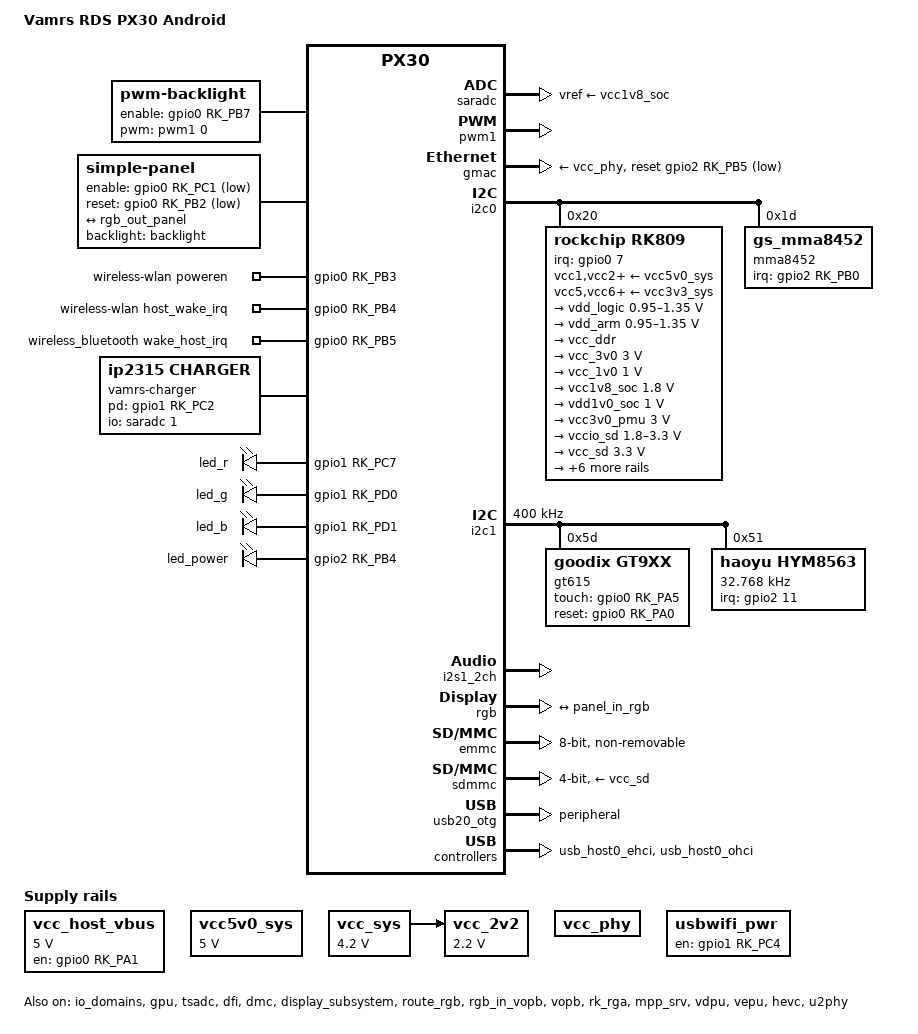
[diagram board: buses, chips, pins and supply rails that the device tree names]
// SPDX-License-Identifier: (GPL-2.0+ OR MIT)
/*
 * Copyright (c) 2018 Fuzhou Rockchip Electronics Co., Ltd
 */

/dts-v1/;
#include <dt-bindings/gpio/gpio.h>
#include <dt-bindings/pinctrl/rockchip.h>
#include <dt-bindings/input/input.h>
#include <dt-bindings/clock/rk618-cru.h>
#include <dt-bindings/display/drm_mipi_dsi.h>
#include <dt-bindings/sensor-dev.h>
#include "px30.dtsi"
#include "px30-android.dtsi"

/ {
	model = "Vamrs RDS PX30 Android";
	compatible = "vamrs,rds-px30", "rockchip,px30";

    chosen: chosen {
        bootargs = "earlycon=uart8250,mmio32,0xff158000 swiotlb=1 console=ttyFIQ0 androidboot.baseband=N/A androidboot.veritymode=enforcing androidboot.hardware=rk30board androidboot.console=ttyFIQ0 init=/init kpti=0";
    };

    fiq-debugger{
        status = "okay";
        rockchip,serial-id = <1>;
        pinctrl-names = "default";
        pinctrl-0 = <&uart1_xfer>;
    };

	backlight: backlight {
		status = "okay";
		compatible = "pwm-backlight";
		enable-gpios = <&gpio0 RK_PB7 GPIO_ACTIVE_HIGH>;
		pwms = <&pwm1 0 25000 1>;
 		brightness-levels = <
			  0   1   2   3   4   5   6   7
			  8   9  10  11  12  13  14  15
			 16  17  18  19  20  21  22  23
			 24  25  26  27  28  29  30  31
			 32  33  34  35  36  37  38  39
			 40  41  42  43  44  45  46  47
			 48  49  50  51  52  53  54  55
			 56  57  58  59  60  61  62  63
			 64  65  66  67  68  69  70  71
			 72  73  74  75  76  77  78  79
			 80  81  82  83  84  85  86  87
			 88  89  90  91  92  93  94  95
			 96  97  98  99 100 101 102 103
			104 105 106 107 108 109 110 111
			112 113 114 115 116 117 118 119
			120 121 122 123 124 125 126 127
			128 129 130 131 132 133 134 135
			136 137 138 139 140 141 142 143
			144 145 146 147 148 149 150 151
			152 153 154 155 156 157 158 159
			160 161 162 163 164 165 166 167
			168 169 170 171 172 173 174 175
			176 177 178 179 180 181 182 183
			184 185 186 187 188 189 190 191
			192 193 194 195 196 197 198 199
			200 201 202 203 204 205 206 207
			208 209 210 211 212 213 214 215
			216 217 218 219 220 221 222 223
			224 225 226 227 228 229 230 231
			232 233 234 235 236 237 238 239
			240 241 242 243 244 245 246 247
			248 249 250 251 252 253 254 255>;
		default-brightness-level = <200>;
	};

	panel {
		status = "okay";
		compatible = "simple-panel";
		bpc = <8>;
		bus-format = <MEDIA_BUS_FMT_RGB888_1X24>;
		backlight = <&backlight>;
		enable-gpios = <&gpio0 RK_PC1 GPIO_ACTIVE_LOW>;
		enable-delay-ms = <10>;
		reset-gpios = <&gpio0 RK_PB2 GPIO_ACTIVE_LOW>;
		reset-delay-ms = <12>;
		prepare-delay-ms = <0>;
		unprepare-delay-ms = <0>;
		disable-delay-ms = <0>;
		init-delay-ms = <0>;
		width-mm = <108>;
		height-mm = <64>;

		display-timings {
			native-mode = <&hq050wvg001_timing>;

			hq050wvg001_timing: timing0 {
				clock-frequency = <24800000>;
				hactive = <800>;
				vactive = <480>;
				hback-porch = <8>;
				hfront-porch = <8>;
				vback-porch = <8>;
				vfront-porch = <8>;
				hsync-len = <4>;
				vsync-len = <4>;
				hsync-active = <0>;
				vsync-active = <0>;
				de-active = <0>;
				pixelclk-active = <0>;
			};
		};

		port {
			panel_in_rgb: endpoint {
				remote-endpoint = <&rgb_out_panel>;
			};
		};
	};

	vcc_host_vbus: host-vbus-regulator {
		compatible = "regulator-fixed";
		gpio = <&gpio0 RK_PA1 GPIO_ACTIVE_HIGH>;
		pinctrl-names = "default";
		pinctrl-0 = <&host_vbus_drv>;
		regulator-name = "vcc_host_vbus";
		regulator-min-microvolt = <5000000>;
		regulator-max-microvolt = <5000000>;
		regulator-always-on;
		regulator-boot-on;
		enable-active-high;
	};

	vcc5v0_sys: vccsys {
		compatible = "regulator-fixed";
		regulator-name = "vcc5v0_sys";
		regulator-always-on;
		regulator-boot-on;
		regulator-min-microvolt = <5000000>;
		regulator-max-microvolt = <5000000>;
	};

	vcc_sys: vccsys {
		compatible = "regulator-fixed";
		regulator-name = "vcc_sys";
		regulator-always-on;
		regulator-boot-on;
		regulator-min-microvolt = <4200000>;
		regulator-max-microvolt = <4200000>;
	};

	vcc_2v2: vcc2v2 {
		compatible = "regulator-fixed";
		regulator-name = "vcc_2v2";
		regulator-always-on;
		regulator-boot-on;
		regulator-min-microvolt = <2200000>;
		regulator-max-microvolt = <2200000>;
		vin-supply = <&vcc_sys>;
	};

	vcc_phy: vcc-phy-regulator {
		compatible = "regulator-fixed";
		regulator-name = "vcc_phy";
		regulator-always-on;
		regulator-boot-on;
	};

	usbwifi_pwr: usb-wifi-regulator {
		compatible = "regulator-fixed";
		enable-active-high;
		gpio = <&gpio1 RK_PC4 GPIO_ACTIVE_LOW>;
		pinctrl-names = "default";
		pinctrl-0 = <&usb_wifi_drv>;
		regulator-name = "usbwifi";
		regulator-always-on;
	};

	wireless-wlan {
		compatible = "wlan-platdata";
		pinctrl-names = "default";
		pinctrl-0 = <&usb_wifi_reg_on &usb_wifi_host_wake>;
		keep_wifi_power_on;
		wifi_chip_type = "rtl8821cu";
		WIFI,poweren_gpio = <&gpio0 RK_PB3 GPIO_ACTIVE_HIGH>;
		WIFI,host_wake_irq = <&gpio0 RK_PB4 GPIO_ACTIVE_HIGH>;
		status = "okay";
	};

	wireless_bluetooth: wireless-bluetooth {
		compatible = "bluetooth-platdata";
		pinctrl-names = "default";
		pinctrl-0 = <&usb_bt_host_wake>;
		BT,wake_host_irq = <&gpio0 RK_PB5 GPIO_ACTIVE_HIGH>;
		status = "okay";
	};

	charge-animation {
		compatible = "rockchip,uboot-charge";
		status = "okay";
		rockchip,uboot-charge-on = <1>;             // 是否开启U-Boot充电
		rockchip,android-charge-on = <0>;           // 是否开启Android充电
		rockchip,uboot-exit-charge-level = <2>;     // U-Boot充电时,允许开机的最低电量
		rockchip,uboot-exit-charge-voltage = <3420>;// U-Boot充电时,允许开机的最低电压
		rockchip,screen-on-voltage = <0>;        // U-Boot充电时,允许点亮屏幕的最低电压
		rockchip,uboot-low-power-voltage = <0>;  // U-Boot无条件强制进入充电模式的最低电压
		rockchip,system-suspend = <1>;              // 是否灭屏时进入trust低功耗待机(要ATF支持)
		rockchip,auto-off-screen-interval = <15>;   // 亮屏超时(自动灭屏),单位秒,默认15s
		rockchip,auto-wakeup-interval = <0>;       // 休眠自动唤醒时间,单位秒。如果值为0或没有这个属性,则禁止休眠自动唤醒。
		rockchip,auto-wakeup-screen-invert = <0>;   // 休眠自动唤醒时是否需要亮/灭屏
	};

	vamrs-charger{
        compatible = "ip2315,charger";
        status = "okay";
        io-channels = <&saradc 1>;
        io-channel-names = "poe";
        pinctrl-names = "default";
        pinctrl-0 = <&pd_gpio>;
        pd-gpio = <&gpio1 RK_PC2 GPIO_ACTIVE_HIGH>;
        work-delay-ms = <300>;
        usb-phy = "phy-ff2c0000";
	};

	rk809-sound {
		compatible = "simple-audio-card";
		simple-audio-card,format = "i2s";
		simple-audio-card,name = "rockchip,rk809-codec";
		simple-audio-card,mclk-fs = <256>;
		simple-audio-card,widgets =
			"Microphone", "Mic Jack",
			"Headphone", "Headphone Jack";
		simple-audio-card,routing =
			"Mic Jack", "MICBIAS1",
			"IN1P", "Mic Jack",
			"Headphone Jack", "HPOL",
			"Headphone Jack", "HPOR";
		simple-audio-card,cpu {
			sound-dai = <&i2s1_2ch>;
		};
		simple-audio-card,codec {
			sound-dai = <&rk809_codec>;
		};
	};

    leds{
        compatible = "gpio-leds";
        status = "okay";

        led_r{
            gpios = <&gpio1 RK_PC7 GPIO_ACTIVE_HIGH>;
            linux,default-trigger = "heartbeat";
            default-state = "on";
            retain-state-suspended;
        };

        led_g{
            gpios = <&gpio1 RK_PD0 GPIO_ACTIVE_HIGH>;
            linux,default-trigger = "heartbeat";
            default-state = "on";
            retain-state-suspended;
        };

        led_b{
            gpios = <&gpio1 RK_PD1 GPIO_ACTIVE_HIGH>;
            linux,default-trigger = "heartbeat";
            default-state = "on";
            retain-state-suspended;
        };

        led_power{
            gpios = <&gpio2 RK_PB4 GPIO_ACTIVE_HIGH>;
            linux,default-trigger = "backlight";
            default-state = "on";
            retain-state-suspended;
        };
    };
};

&io_domains {
	status = "okay";

	vccio1-supply = <&vcc1v8_soc>;
	vccio2-supply = <&vccio_sd>;
	vccio3-supply = <&vcc_3v0>;
	vccio4-supply = <&vcc3v0_pmu>;
	vccio5-supply = <&vcc_3v0>;
	vccio6-supply = <&vcc1v8_soc>;
};

&pmu_io_domains {
	status = "okay";

	pmuio1-supply = <&vcc3v0_pmu>;
	pmuio2-supply = <&vcc3v0_pmu>;
};

&rockchip_suspend {
	status = "okay";
	rockchip,sleep-debug-en = <1>;
};

&bus_apll {
	bus-supply = <&vdd_logic>;
	status = "okay";
};

&cpu0 {
	cpu-supply = <&vdd_arm>;
};

&gpu {
	mali-supply = <&vdd_logic>;
	status = "okay";
};

&saradc {
	status = "okay";
	vref-supply = <&vcc1v8_soc>;
};

&tsadc {
	pinctrl-names = "gpio", "otpout";
	pinctrl-0 = <&tsadc_otp_gpio>;
	pinctrl-1 = <&tsadc_otp_out>;
	status = "okay";
};

&pwm1 {
     status = "okay";
};

&dfi {
	status = "okay";
};

&dmc {
	center-supply = <&vdd_logic>;
	auto-freq-en = <1>;
    system-status-freq = <
        /*system status         freq(KHz)*/
        SYS_STATUS_NORMAL       528000
        SYS_STATUS_REBOOT       450000
        SYS_STATUS_SUSPEND      194000
        SYS_STATUS_LOW_POWER    328000
        SYS_STATUS_VIDEO_1080P  450000
        SYS_STATUS_BOOST        528000
        SYS_STATUS_ISP          666000
        SYS_STATUS_PERFORMANCE  666000
    >;
    auto-min-freq = <666000>;
    vop-dclk-mode = <1>;
	status = "okay";
};

&dmc_opp_table {
    opp-194000000 {
        status = "disabled";
    };
    opp-328000000 {
        status = "disabled";
    };
    opp-450000000 {
        status = "disabled";
    };
    opp-528000000 {
        status = "disabled";
    };
    opp-666000000 {
        status = "okay";
    };
};

&rockchip_suspend {
    status = "okay";
    rockchip,sleep-debug-en = <1>;
};

&gmac {
	phy-supply = <&vcc_phy>;
	assigned-clocks = <&cru SCLK_GMAC>;
	assigned-clock-parents = <&gmac_clkin>;
	clock_in_out = "input";
	pinctrl-names = "default";
	pinctrl-0 = <&rmii_pins &mac_refclk>;
	snps,reset-gpio = <&gpio2 RK_PB5 GPIO_ACTIVE_LOW>;
	snps,reset-active-low;
	snps,reset-delays-us = <0 50000 50000>;
	vendor,fix_rtl8201f;
	status = "okay";
};

&i2c0 {
	status = "okay";

	rk809: pmic@20 {
		compatible = "rockchip,rk809";
		reg = <0x20>;
		interrupt-parent = <&gpio0>;
		interrupts = <7 IRQ_TYPE_LEVEL_LOW>;
		pinctrl-names = "default", "pmic-sleep",
				"pmic-power-off", "pmic-reset";
		pinctrl-0 = <&pmic_int>;
		pinctrl-1 = <&soc_slppin_slp>, <&rk817_slppin_slp>;
		pinctrl-2 = <&soc_slppin_gpio>, <&rk817_slppin_pwrdn>;
		pinctrl-3 = <&soc_slppin_rst>, <&rk817_slppin_rst>;
		rockchip,system-power-controller;
		wakeup-source;
		#clock-cells = <1>;
		clock-output-names = "rk808-clkout1", "rk808-clkout2";
		//fb-inner-reg-idxs = <2>;
		/* 1: rst regs (default in codes), 0: rst the pmic */
		pmic-reset-func = <1>;

		vcc1-supply = <&vcc5v0_sys>;
		vcc2-supply = <&vcc5v0_sys>;
		vcc3-supply = <&vcc5v0_sys>;
		vcc4-supply = <&vcc5v0_sys>;
		vcc5-supply = <&vcc3v3_sys>;
		vcc6-supply = <&vcc3v3_sys>;
		vcc7-supply = <&vcc3v3_sys>;
		vcc8-supply = <&vcc3v3_sys>;
		vcc9-supply = <&vcc5v0_sys>;

		pwrkey {
			status = "okay";
		};

		pinctrl_rk8xx: pinctrl_rk8xx {
			gpio-controller;
			#gpio-cells = <2>;

			rk817_slppin_null: rk817_slppin_null {
				pins = "gpio_slp";
				function = "pin_fun0";
			};

			rk817_slppin_slp: rk817_slppin_slp {
				pins = "gpio_slp";
				function = "pin_fun1";
			};

			rk817_slppin_pwrdn: rk817_slppin_pwrdn {
				pins = "gpio_slp";
				function = "pin_fun2";
			};

			rk817_slppin_rst: rk817_slppin_rst {
				pins = "gpio_slp";
				function = "pin_fun3";
			};
		};

		regulators {
			vdd_logic: DCDC_REG1 {
				regulator-always-on;
				regulator-boot-on;
				regulator-min-microvolt = <950000>;
				regulator-max-microvolt = <1350000>;
				regulator-ramp-delay = <6001>;
				regulator-initial-mode = <0x2>;
				regulator-name = "vdd_logic";
				regulator-state-mem {
					regulator-on-in-suspend;
					regulator-suspend-microvolt = <950000>;
				};
			};

			vdd_arm: DCDC_REG2 {
				regulator-always-on;
				regulator-boot-on;
				regulator-min-microvolt = <950000>;
				regulator-max-microvolt = <1350000>;
				regulator-ramp-delay = <6001>;
				regulator-initial-mode = <0x2>;
				regulator-name = "vdd_arm";
				regulator-state-mem {
					regulator-off-in-suspend;
					regulator-suspend-microvolt = <950000>;
				};
			};

			vcc_ddr: DCDC_REG3 {
				regulator-always-on;
				regulator-boot-on;
				regulator-initial-mode = <0x2>;
				regulator-name = "vcc_ddr";
				regulator-state-mem {
					regulator-on-in-suspend;
				};
			};

			vcc_3v0: DCDC_REG4 {
				regulator-always-on;
				regulator-boot-on;
				regulator-min-microvolt = <3000000>;
				regulator-max-microvolt = <3000000>;
				regulator-initial-mode = <0x2>;
				regulator-name = "vcc_3v0";
				regulator-state-mem {
					regulator-off-in-suspend;
					regulator-suspend-microvolt = <3000000>;
				};
			};

			vcc_1v0: LDO_REG1 {
				regulator-always-on;
				regulator-boot-on;
				regulator-min-microvolt = <1000000>;
				regulator-max-microvolt = <1000000>;
				regulator-name = "vcc_1v0";
				regulator-state-mem {
					regulator-on-in-suspend;
					regulator-suspend-microvolt = <1000000>;
				};
			};

			vcc1v8_soc: LDO_REG2 {
				regulator-always-on;
				regulator-boot-on;
				regulator-min-microvolt = <1800000>;
				regulator-max-microvolt = <1800000>;

				regulator-name = "vcc1v8_soc";
				regulator-state-mem {
					regulator-on-in-suspend;
					regulator-suspend-microvolt = <1800000>;
				};
			};

			vdd1v0_soc: LDO_REG3 {
				regulator-always-on;
				regulator-boot-on;
				regulator-min-microvolt = <1000000>;
				regulator-max-microvolt = <1000000>;

				regulator-name = "vcc1v0_soc";
				regulator-state-mem {
					regulator-on-in-suspend;
					regulator-suspend-microvolt = <1000000>;
				};
			};

			vcc3v0_pmu: LDO_REG4 {
				regulator-always-on;
				regulator-boot-on;
				regulator-min-microvolt = <3000000>;
				regulator-max-microvolt = <3000000>;

				regulator-name = "vcc3v0_pmu";
				regulator-state-mem {
					regulator-on-in-suspend;
					regulator-suspend-microvolt = <3000000>;

				};
			};

			vccio_sd: LDO_REG5 {
				regulator-always-on;
				regulator-boot-on;
				regulator-min-microvolt = <1800000>;
				regulator-max-microvolt = <3300000>;

				regulator-name = "vccio_sd";
				regulator-state-mem {
					regulator-on-in-suspend;
					regulator-suspend-microvolt = <3300000>;
				};
			};

			vcc_sd: LDO_REG6 {
				regulator-min-microvolt = <3300000>;
				regulator-max-microvolt = <3300000>;

				regulator-name = "vcc_sd";
				regulator-state-mem {
					regulator-on-in-suspend;
					regulator-suspend-microvolt = <3300000>;

				};
			};

			vcc2v8_dvp: LDO_REG7 {
				regulator-always-on;
				regulator-boot-on;
				regulator-min-microvolt = <2800000>;
				regulator-max-microvolt = <2800000>;

				regulator-name = "vcc2v8_dvp";
				regulator-state-mem {
					regulator-off-in-suspend;
					regulator-suspend-microvolt = <2800000>;
				};
			};

			vcc1v8_dvp: LDO_REG8 {
				regulator-always-on;
				regulator-boot-on;
				regulator-min-microvolt = <1800000>;
				regulator-max-microvolt = <1800000>;

				regulator-name = "vcc1v8_dvp";
				regulator-state-mem {
					regulator-on-in-suspend;
					regulator-suspend-microvolt = <1800000>;
				};
			};

			vdd1v5_dvp: LDO_REG9 {
				regulator-always-on;
				regulator-boot-on;
				regulator-min-microvolt = <1500000>;
				regulator-max-microvolt = <1500000>;

				regulator-name = "vdd1v5_dvp";
				regulator-state-mem {
					regulator-off-in-suspend;
					regulator-suspend-microvolt = <1500000>;
				};
			};

			vcc3v3_sys: DCDC_REG5 {
				regulator-always-on;
				regulator-boot-on;
				regulator-min-microvolt = <3300000>;
				regulator-max-microvolt = <3300000>;
				regulator-name = "vcc3v3_sys";
				regulator-state-mem {
					regulator-on-in-suspend;
					regulator-suspend-microvolt = <3300000>;
				};
			};

			vcc5v0_host: SWITCH_REG1 {
				regulator-name = "vcc5v0_host";
			};

			vcc3v3_lcd: SWITCH_REG2 {
				regulator-boot-on;
				regulator-name = "vcc3v3_lcd";
			};
		};

		battery {
			compatible = "rk817,battery";
			/*ocv_table = <3500 3539 3573 3598 3623 3653 3691
			3725 3752 3773 3805 3838 3873 3911
			3952 3997 4045 4095 4148 4206 4297>;
			design_capacity = <3915>;
			design_qmax = <4306>;
			 power_off_thresd = <3500>;*/
			/*ocv_table = <3400 3432 3475 3533 3572
                         3600 3629 3666 3708 3743
                         3767 3800 3838 3877 3920
                         3968 4010 4056 4098 4148 4197>;*/
			ocv_table = <3400 3444 3480 3522 3569
			 3608 3648 3684 3719 3754
			 3789 3826 3876 3910 3945
			 3989 4032 4058 4072 4093 4159>;
			design_capacity = <5600>;
			design_qmax = <5544>;
			power_off_thresd = <3400>;
			bat_res = <137>;
			sleep_enter_current = <300>;
			sleep_exit_current = <300>;
			sleep_filter_current = <100>;
			zero_algorithm_vol = <3850>;
			max_soc_offset = <60>;
			monitor_sec = <5>;
			sample_res = <10>;
			virtual_power = <0>;
			bat_res_up = <100>;
			bat_res_down = <36>;
		};

		rk809_codec: codec {
			#sound-dai-cells = <0>;
			compatible = "rockchip,rk809-codec", "rockchip,rk817-codec";
			clocks = <&cru SCLK_I2S1_OUT>;
			clock-names = "mclk";
			pinctrl-names = "default";
			pinctrl-0 = <&i2s1_2ch_mclk>;
			hp-volume = <20>;
			spk-volume = <15>;
			status = "okay";
		};
	};


	mma8452:mma8452@1d {
		status = "okay";
		compatible = "gs_mma8452";
		reg = <0x1d>;
		type = <SENSOR_TYPE_ACCEL>;
		pinctrl-names = "default";
		pinctrl-0 = <&mma8452_int1>;
		irq-gpio = <&gpio2 RK_PB0 IRQ_TYPE_LEVEL_LOW>;
		irq_enable = <1>;
		poll_delay_ms = <30>;
		layout = <1>;
    };
};

&i2c1{
	status = "okay";
	clock-frequency = <100000>;

	gt615: gt615@5d {		// 0x28/0x29 or 0xba/bb
		status = "okay";
		compatible = "goodix,gt9xx";
		reg = <0x5d>;
		pinctrl-names = "default";
		pinctrl-0 = <&gt615_touch>,<&gt615_rst>;
		touch-gpio = <&gpio0 RK_PA5 IRQ_TYPE_LEVEL_LOW>;
		reset-gpio = <&gpio0 RK_PA0 GPIO_ACTIVE_HIGH>;
		max-x = <800>;
		max-y = <480>;
		tp-size = <912>;			// 89 101 911 912:lx
		revert-x-y = <0>;			// 1: revert x, 2: revert y, 3: revert both x & y
	};

    hym8563: hym8563@51 {
        compatible = "haoyu,hym8563";
        reg = <0x51>;
        #clock-cells = <0>;
        clock-frequency = <32768>;
        clock-output-names = "xin32k";
        pinctrl-names = "default";
        pinctrl-0 = <&hym8563_int>;
        interrupt-parent = <&gpio2>;
        interrupts = <11 IRQ_TYPE_LEVEL_LOW>;
    };
};

&i2s1_2ch {
	status = "okay";
	#sound-dai-cells = <0>;
};

&display_subsystem {
	status = "okay";
};

&rgb {
	status = "okay";

	ports {
		port@1 {
			reg = <1>;
			#address-cells = <1>;
			#size-cells = <0>;

			rgb_out_panel: endpoint@0 {
				reg = <0>;
				remote-endpoint = <&panel_in_rgb>;
			};
		};
	};
};

&route_rgb {
	connect = <&vopb_out_rgb>;
	status = "okay";
};

&rgb_in_vopb {
	status = "okay";
};

&rgb_in_vopl {
	status = "disabled";
};

&vopb {
	status = "okay";
};

&vopb_mmu {
	status = "okay";
};

&vopl {
	status = "disabled";
};

&vopl_mmu {
	status = "disabled";
};

&rk_rga {
	status = "okay";
};

&mpp_srv {
	status = "okay";
};

&vdpu {
	status = "okay";
};

&vepu {
	status = "okay";
};

&vpu_mmu {
	status = "okay";
};

&hevc {
	status = "okay";
};

&hevc_mmu {
	status = "okay";
};

&i2c1 {
	status = "okay";
	clock-frequency = <400000>;
};

&nandc0 {
	status = "disabled";
};

&emmc {
	bus-width = <8>;
	cap-mmc-highspeed;
	mmc-hs200-1_8v;
	supports-emmc;
	disable-wp;
	non-removable;
	num-slots = <1>;
	status = "okay";
};

&sdmmc {
    bus-width = <4>;
    cap-mmc-highspeed;
    cap-sd-highspeed;
    supports-sd;
    card-detect-delay = <800>;
    ignore-pm-notify;
    /*cd-gpios = <&gpio2 4 GPIO_ACTIVE_HIGH>; [> CD GPIO <]*/
    sd-uhs-sdr12;
    sd-uhs-sdr25;
    sd-uhs-sdr50;
    sd-uhs-sdr104;
    vqmmc-supply = <&vccio_sd>;
    vmmc-supply = <&vcc_sd>;
    status = "okay";
};

&uart1 {
	status = "disabled";
	pinctrl-names = "default";
	pinctrl-0 = <&uart1_xfer>;
};

&uart2 {
	status = "disabled";
};

&u2phy {
    assigned-clocks = <&cru USB480M>, <&cru SCLK_UART2_SRC>;
	status = "okay";

	u2phy_host: host-port {
		phy-supply = <&vcc_host_vbus>;
		status = "okay";
	};

	u2phy_otg: otg-port {
		status = "okay";
	};
};

&usb20_otg {
	status = "okay";
	dr_mode = "peripheral";
};

&usb_host0_ehci {
	status = "okay";
};

&usb_host0_ohci {
	status = "okay";
};

&pinctrl {
	pmic {
		pmic_int: pmic_int {
			rockchip,pins =
				<0 RK_PA7 RK_FUNC_GPIO &pcfg_pull_up>;
		};

		soc_slppin_gpio: soc_slppin_gpio {
			rockchip,pins =
				<0 RK_PA4 RK_FUNC_GPIO &pcfg_output_low>;
		};

		soc_slppin_slp: soc_slppin_slp {
			rockchip,pins =
				<0 RK_PA4 RK_FUNC_1 &pcfg_pull_none>;
		};

		soc_slppin_rst: soc_slppin_rst {
			rockchip,pins =
				<0 RK_PA4 RK_FUNC_2 &pcfg_pull_none>;
		};
	};

    usb {
		host_vbus_drv: host-vbus-drv {
			rockchip,pins =
				<0 RK_PA1 RK_FUNC_GPIO &pcfg_pull_none>;
		};
	};

	mma8452{
		mma8452_int1: mma8452-int1{
			rockchip,pins = <2 RK_PB0 RK_FUNC_GPIO &pcfg_pull_up>;
		};
	};

	gt615{
		gt615_touch: gt615-touch{
			rockchip,pins = <0 RK_PA5 RK_FUNC_GPIO &pcfg_pull_none>;
		};
		gt615_rst: gt615-rst{
			rockchip,pins = <0 RK_PA0 RK_FUNC_GPIO &pcfg_pull_none>;
		};
	};

	usbwifi {
		usb_wifi_drv: usb-wifi-drv {
			rockchip,pins = <1 RK_PC4 RK_FUNC_GPIO &pcfg_pull_none>;
		};
	};

	wlan {
		usb_wifi_host_wake: usb-wifi-host-wake{
			rockchip,pins = <0 RK_PB4 RK_FUNC_GPIO &pcfg_pull_none>;
		};
		usb_wifi_reg_on: usb-wifi-reg-on{
			rockchip,pins = <0 RK_PB3 RK_FUNC_GPIO &pcfg_pull_none>;
		};
	};

	bt{
		usb_bt_host_wake: usb-bt-host-wake{
			rockchip,pins = <0 RK_PB5 RK_FUNC_GPIO &pcfg_pull_none>;
		};
	};

	vamrs-charger {
	    pd_gpio: pd-gpio {
	        rockchip,pins = <1 RK_PC2 RK_FUNC_GPIO &pcfg_pull_up>;
	    };
	};

    hym8563 {
        hym8563_int: hym8563-int {
            rockchip,pins = <2 RK_PB3 RK_FUNC_GPIO &pcfg_pull_up>;
        };
    };
};

/* DON'T PUT ANYTHING BELOW HERE.  PUT IT ABOVE PINCTRL */
/* DON'T PUT ANYTHING BELOW HERE.  PUT IT ABOVE PINCTRL */
/* DON'T PUT ANYTHING BELOW HERE.  PUT IT ABOVE PINCTRL */
